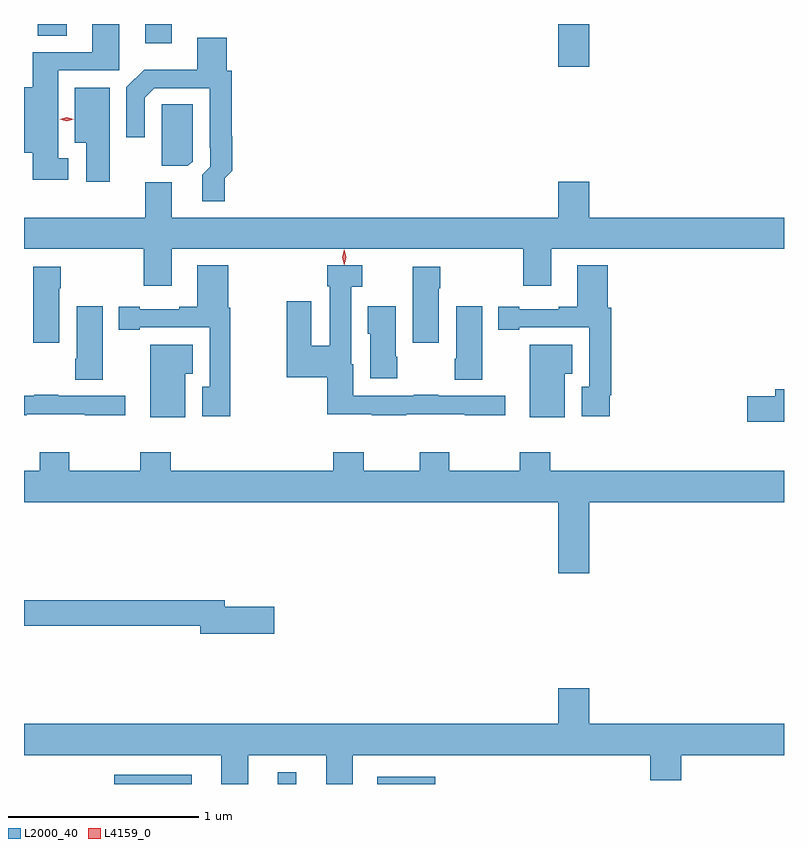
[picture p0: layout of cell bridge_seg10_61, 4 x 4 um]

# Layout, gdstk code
import gdstk
lib = gdstk.Library(unit=1e-6, precision=1e-09)
def R(c, l, rs):  # rectangles x0, y0, x1, y1
    for r in rs: c.add(gdstk.rectangle(r[:2], r[2:], *l))
def P(c, l, *ps):  # polygons
    for p in ps: c.add(gdstk.Polygon(p, *l))
L2000_40 = (2000, 40)
L4159_0 = (4159, 0)

bridge_seg10_61 = lib.new_cell('bridge_seg10_61')
R(bridge_seg10_61, L2000_40, [(822.012,1296.168,822.418,1296.217), (822.872,1296.168,822.97,1296.229), (823.395,1296.168,823.7,1296.207), (824.348,1299.942,824.512,1300.168), (822.173,1300.068,822.313,1300.168), (821.609,1300.105,821.761,1300.168)])
P(bridge_seg10_61, L2000_40, [(821.77,1299.461),(821.716,1299.461),(821.716,1299.924),(822.037,1299.924),(822.037,1300.168),(821.894,1300.168),(821.894,1300.02),(821.582,1300.02),(821.582,1299.835),(821.536,1299.835),(821.536,1299.491),(821.582,1299.491),(821.582,1299.348),(821.77,1299.348)],
  [(822.593,1299.357),(822.632,1299.396),(822.632,1299.578),(822.629,1299.578),(822.629,1299.921),(822.602,1299.921),(822.602,1300.096),(822.449,1300.096),(822.449,1299.928),(822.169,1299.928),(822.075,1299.834),(822.075,1299.573),(822.171,1299.573),(822.171,1299.78),(822.222,1299.831),(822.513,1299.831),(822.513,1299.517),(822.516,1299.517),(822.516,1299.417),(822.473,1299.374),(822.473,1299.234),(822.593,1299.234)],
  [(821.986,1299.832),(821.804,1299.832),(821.804,1299.542),(821.864,1299.542),(821.864,1299.339),(821.986,1299.339)],
  [(822.423,1299.444),(822.423,1299.746),(822.261,1299.746),(822.261,1299.635),(822.26,1299.635),(822.26,1299.421),(822.399,1299.421)],
  [(822.313,1299.336),(822.173,1299.336),(822.173,1299.148),(821.536,1299.148),(821.536,1298.984),(822.166,1298.984),(822.166,1298.79),(822.313,1298.79),(822.313,1298.984),(824.164,1298.984),(824.164,1298.79),(824.311,1298.79),(824.311,1298.984),(825.536,1298.984),(825.536,1299.148),(824.512,1299.148),(824.512,1299.337),(824.348,1299.337),(824.348,1299.148),(822.313,1299.148)],
  [(823.549,1298.114),(823.855,1298.114),(823.855,1298.11),(824.068,1298.11),(824.068,1298.211),(823.715,1298.211),(823.715,1298.216),(823.588,1298.216),(823.588,1298.211),(823.27,1298.211),(823.27,1298.376),(823.258,1298.376),(823.258,1298.786),(823.315,1298.786),(823.315,1298.899),(823.133,1298.899),(823.133,1298.789),(823.145,1298.789),(823.145,1298.474),(823.048,1298.474),(823.048,1298.71),(822.919,1298.71),(822.919,1298.309),(823.133,1298.309),(823.133,1298.114),(823.366,1298.114),(823.366,1298.11),(823.549,1298.11)],
  [(822.622,1298.674),(822.61,1298.674),(822.61,1298.899),(822.449,1298.899),(822.449,1298.68),(822.353,1298.68),(822.353,1298.667),(822.145,1298.667),(822.145,1298.68),(822.035,1298.68),(822.035,1298.559),(822.145,1298.559),(822.145,1298.571),(822.513,1298.571),(822.513,1298.259),(822.473,1298.259),(822.473,1298.103),(822.622,1298.103)],
  [(824.62,1298.215),(824.627,1298.215),(824.627,1298.674),(824.608,1298.674),(824.608,1298.899),(824.447,1298.899),(824.447,1298.68),(824.351,1298.68),(824.351,1298.667),(824.143,1298.667),(824.143,1298.68),(824.033,1298.68),(824.033,1298.559),(824.143,1298.559),(824.143,1298.571),(824.511,1298.571),(824.511,1298.259),(824.471,1298.259),(824.471,1298.103),(824.62,1298.103)],
  [(821.722,1298.777),(821.73,1298.777),(821.73,1298.89),(821.585,1298.89),(821.585,1298.49),(821.722,1298.49)],
  [(823.72,1298.777),(823.728,1298.777),(823.728,1298.89),(823.583,1298.89),(823.583,1298.49),(823.72,1298.49)],
  [(821.95,1298.683),(821.813,1298.683),(821.813,1298.407),(821.806,1298.407),(821.806,1298.296),(821.95,1298.296)],
  [(823.948,1298.683),(823.811,1298.683),(823.811,1298.407),(823.804,1298.407),(823.804,1298.296),(823.948,1298.296)],
  [(823.5,1298.416),(823.492,1298.416),(823.492,1298.683),(823.346,1298.683),(823.346,1298.538),(823.358,1298.538),(823.358,1298.304),(823.5,1298.304)],
  [(824.383,1298.327),(824.422,1298.327),(824.422,1298.479),(824.198,1298.479),(824.198,1298.099),(824.383,1298.099)],
  [(822.385,1298.327),(822.424,1298.327),(822.424,1298.479),(822.2,1298.479),(822.2,1298.099),(822.385,1298.099)],
  [(825.536,1298.246),(825.491,1298.246),(825.491,1298.21),(825.342,1298.21),(825.342,1298.075),(825.536,1298.075)],
  [(821.551,1298.114),(821.857,1298.114),(821.857,1298.11),(822.07,1298.11),(822.07,1298.211),(821.717,1298.211),(821.717,1298.216),(821.59,1298.216),(821.59,1298.211),(821.536,1298.211),(821.536,1298.11),(821.551,1298.11)],
  [(821.62,1297.915),(821.62,1297.816),(821.536,1297.816),(821.536,1297.652),(824.348,1297.652),(824.348,1297.278),(824.512,1297.278),(824.512,1297.652),(825.536,1297.652),(825.536,1297.816),(824.306,1297.816),(824.306,1297.915),(824.146,1297.915),(824.146,1297.816),(823.773,1297.816),(823.773,1297.915),(823.618,1297.915),(823.618,1297.816),(823.323,1297.816),(823.323,1297.915),(823.163,1297.915),(823.163,1297.816),(822.308,1297.816),(822.308,1297.915),(822.148,1297.915),(822.148,1297.816),(821.775,1297.816),(821.775,1297.915)],
  [(822.853,1297.1),(822.592,1297.1),(822.592,1297.136),(821.536,1297.136),(821.536,1297),(822.464,1297),(822.464,1296.958),(822.853,1296.958)],
  [(822.715,1296.32),(823.127,1296.32),(823.127,1296.168),(823.267,1296.168),(823.267,1296.32),(824.831,1296.32),(824.831,1296.187),(824.996,1296.187),(824.996,1296.32),(825.536,1296.32),(825.536,1296.484),(824.512,1296.484),(824.512,1296.673),(824.348,1296.673),(824.348,1296.484),(821.536,1296.484),(821.536,1296.32),(822.575,1296.32),(822.575,1296.168),(822.715,1296.168)])
P(bridge_seg10_61, L4159_0, [(823.221,1298.899),(823.212,1298.94),(823.222,1298.981),(823.222,1298.981),(823.222,1298.981),(823.232,1298.94),(823.222,1298.899),(823.222,1298.899)],
  [(821.761,1299.657),(821.723,1299.667),(821.723,1299.667),(821.723,1299.668),(821.761,1299.676),(821.799,1299.666),(821.799,1299.666),(821.799,1299.666)])

lib.write_gds('bridge_seg10_61.gds')
